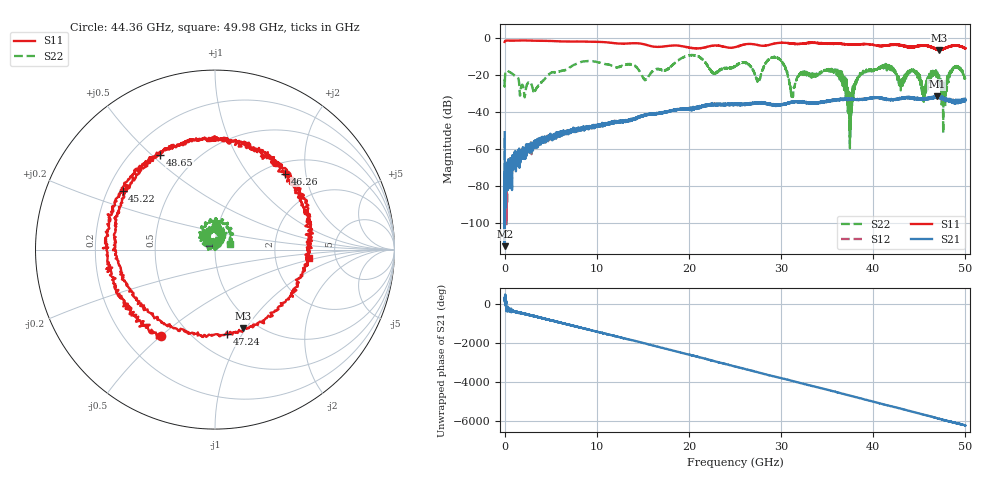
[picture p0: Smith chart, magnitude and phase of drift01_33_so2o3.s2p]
!Created with skrf (http://scikit-rf.org).
# Hz S RI R 50.0
!freq ReS11 ImS11 ReS21 ImS21 ReS12 ImS12 ReS22 ImS22
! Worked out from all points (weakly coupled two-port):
!   10001 points, 300 kHz to 50 GHz, reference 50 ohm
!   highest |S21| = -31.53 dB at 46.9 GHz (marker M1); lowest = -112.5 dB at 5.3 MHz (marker M2)
!   lowest |S11| = -6.6 dB at 47.15 GHz (marker M3), VSWR 2.74, Z = 43.5 - j48.6 ohm
!   |S11| at or under -10 dB: nowhere
!   |S22| runs from -59.6 to -9.2 dB; largest |S21 - S12| = 0.0035
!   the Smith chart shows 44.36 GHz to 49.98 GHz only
!   S11 on the Smith chart (normalised r, x): 44.36 GHz: 0.35, -0.50; 45.22 GHz: 0.26, +0.27; 46.26 GHz: 1.21, +1.53; 47.24 GHz: 0.71, -0.86; 48.65 GHz: 0.32, +0.53; 49.98 GHz: 3.15, -0.39
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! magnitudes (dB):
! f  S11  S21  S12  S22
! 300 kHz  -2.1  -50.9  -54.4  -22.4
! 5.3 MHz  -2.1  -112.5  -83.6  -26.3
! 255.3 MHz  -1.4  -73.8  -75.3  -17.7
! 3.285 GHz  -1.5  -57.9  -58.5  -28.9
! 8.335 GHz  -2.0  -50.1  -49.0  -12.9
! 16.67 GHz  -4.8  -40.5  -40.8  -16.7
! 25 GHz  -5.0  -35.6  -35.6  -15.3
! 31.23 GHz  -3.1  -34.5  -34.5  -30.8
! 33.34 GHz  -2.6  -34.8  -35.0  -20.0
! 36.21 GHz  -3.2  -33.0  -33.1  -20.4
! 37.47 GHz  -3.6  -33.1  -33.2  -59.6
! 38.66 GHz  -3.4  -33.2  -33.1  -19.8
! 41.67 GHz  -3.9  -33.2  -33.3  -16.0
! 44.36 GHz  -4.9  -32.5  -32.4  -17.4
! 45.22 GHz  -4.3  -32.8  -32.9  -24.0
! 46.26 GHz  -4.8  -32.6  -32.8  -19.6
! 46.9 GHz  -6.1  -31.5  -32.1  -20.8
! 47.15 GHz  -6.6  -32.6  -32.0  -20.4
! 47.24 GHz  -6.5  -32.1  -32.4  -26.1
! 48.65 GHz  -4.3  -34.2  -34.5  -17.0
! 49.98 GHz  -5.6  -32.8  -33.5  -21.1
! 50 GHz  -5.6  -33.6  -33.9  -21.6
